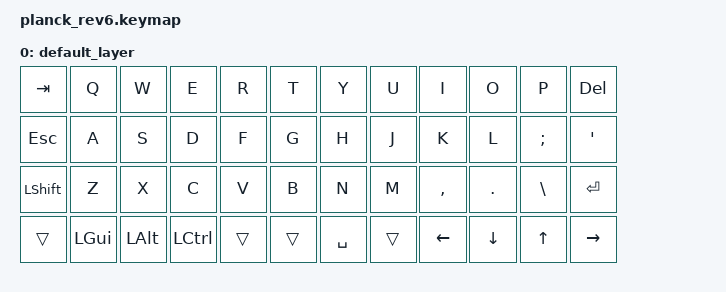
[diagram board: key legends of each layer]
#include <behaviors.dtsi>
#include <dt-bindings/zmk/keys.h>

/ {
	keymap {
		compatible = "zmk,keymap";

		default_layer {
// ...
// -----------------------------------------------------------------------------------------
// |  TAB  |  Q   |  W   |  E   |  R   |  T   |   Y   |  U    |  I   |  O   |   P   | BSPC  |
// |  ESC  |  A   |  S   |  D   |  F   |  G   |   H   |  J    |  K   |  L   |   ;   |  '    |
// | SHIFT |  Z   |  X   |  C   |  V   |  B   |   N   |  M    |  ,   |  .   |   /   |  RET  |
// | FN    | LGUI | LALT | LCTL | LOWR |     SPACE    |  RAIS | LARW | DARW | UARW  |  RARW |
			bindings = <
	&kp TAB   &kp Q    &kp W    &kp E     &kp R  &kp T  &kp Y     &kp U  &kp I     &kp O    &kp P    &kp DEL
	&kp ESC   &kp A    &kp S    &kp D     &kp F  &kp G  &kp H     &kp J  &kp K     &kp L    &kp SEMI &kp SQT
	&kp LSHFT &kp Z    &kp X    &kp C     &kp V  &kp B  &kp N     &kp M  &kp COMMA &kp DOT  &kp BSLH &kp RET
	&trans    &kp LGUI &kp LALT &kp LCTRL &trans &trans &kp SPACE &trans &kp LEFT  &kp DOWN &kp UP   &kp RIGHT
			>;
		};
	};
};
